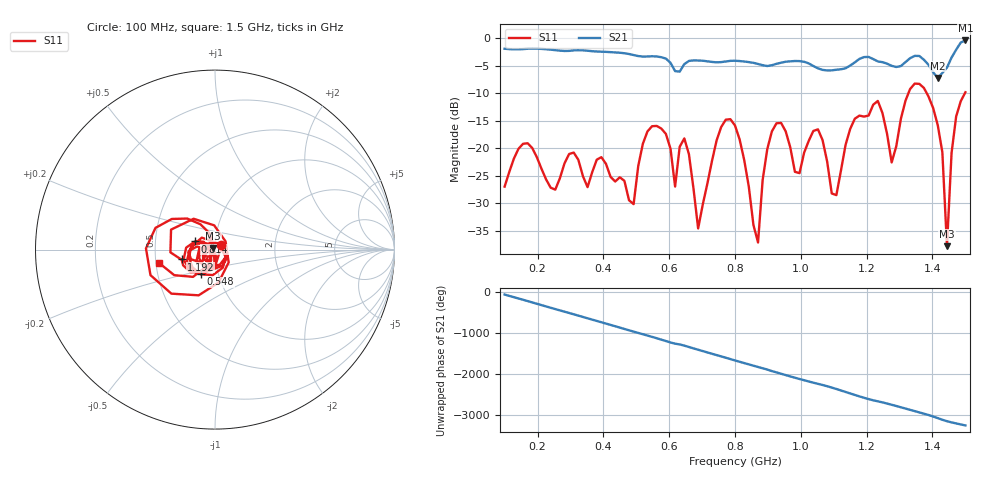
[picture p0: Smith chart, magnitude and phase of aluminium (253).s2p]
! NanoVNA-App
! Date: 2025-09-25 14:57:15
! Start: 100MHz Stop: 1,5GHz Points: 101
! S-Parameter data: F S11 S21 S12 S22
# Hz S RI R 50
!  Frequency  S11_Real  S11_Imag  S21_Real  S21_Imag  S12_Real  S12_Imag  S22_Real  S22_Imag
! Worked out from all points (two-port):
!   101 points, 100 MHz to 1.5 GHz, reference 50 ohm
!   highest |S21| = -0.42 dB at 1.5 GHz (marker M1); lowest = -7.2 dB at 1.416 GHz (marker M2)
!   |S21| within 3 dB of the highest: start of sweep to 571.6 MHz; 1.459 GHz to end of sweep (the widest 2 of 4)
!   lowest |S11| = -37.8 dB at 1.444 GHz (marker M3), VSWR 1.03, Z = 49 + j0.829 ohm
!   |S11| at or under -10 dB: start of sweep to 1.327 GHz; 1.383 GHz to 1.498 GHz (115.9 MHz wide, 8.05 % of centre)
!   S12 and S22 are empty: the file has one direction only
!   S11 on the Smith chart (normalised r, x): 100 MHz: 1.07, +0.06; 548 MHz: 0.82, -0.23; 814 MHz: 0.80, +0.07; 1.192 GHz: 0.68, -0.08; 1.5 GHz: 0.52, -0.08
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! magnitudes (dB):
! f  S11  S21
! 100 MHz  -27.0  -1.9
! 338 MHz  -25.1  -2.2
! 492 MHz  -30.1  -3.1
! 548 MHz  -16.0  -3.3
! 576 MHz  -16.4  -3.5
! 618 MHz  -26.9  -6.0
! 646 MHz  -18.2  -4.7
! 688 MHz  -34.6  -4.1
! 800 MHz  -15.9  -4.1
! 814 MHz  -18.4  -4.2
! 870 MHz  -37.1  -4.7
! 912 MHz  -16.9  -4.9
! 996 MHz  -24.5  -4.2
! 1.038 GHz  -16.9  -5.1
! 1.108 GHz  -28.5  -5.7
! 1.192 GHz  -14.2  -3.4
! 1.276 GHz  -22.6  -5.0
! 1.346 GHz  -8.3  -3.2
! 1.416 GHz  -15.8  -7.2
! 1.444 GHz  -37.8  -5.4
! 1.458 GHz  -20.8  -3.5
! 1.5 GHz  -9.8  -0.4
